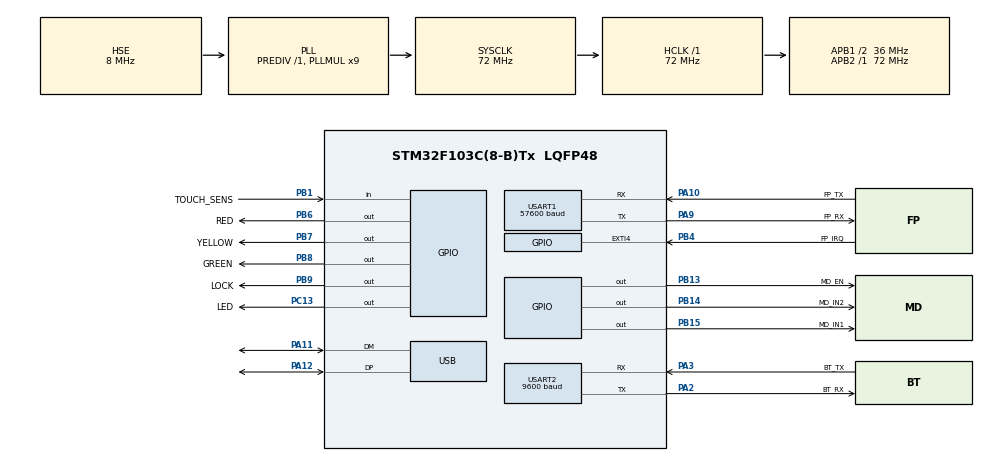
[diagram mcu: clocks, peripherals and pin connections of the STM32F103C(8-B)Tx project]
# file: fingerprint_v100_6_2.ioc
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Mcu.Family=STM32F1
Mcu.Name=STM32F103C(8-B)Tx
Mcu.Package=LQFP48
NVIC.EXTI4_IRQn=true\:0\:0\:false\:false\:true\:true\:true\:true
NVIC.PriorityGroup=NVIC_PRIORITYGROUP_4
NVIC.RCC_IRQn=true\:0\:0\:false\:false\:true\:true\:false\:true
NVIC.USART2_IRQn=true\:0\:0\:false\:false\:true\:true\:true\:true
NVIC.USB_LP_CAN1_RX0_IRQn=true\:0\:0\:false\:false\:true\:false\:true\:true
PA10.GPIO_Label=FP_TX
PA10.Mode=Asynchronous
PA10.Signal=USART1_RX
PA11.Mode=Device
PA11.Signal=USB_DM
PA12.Mode=Device
PA12.Signal=USB_DP
PA13.Mode=Serial_Wire
PA13.Signal=SYS_JTMS-SWDIO
PA14.Mode=Serial_Wire
PA14.Signal=SYS_JTCK-SWCLK
PA2.GPIO_Label=BT_RX
PA2.Mode=Asynchronous
PA2.Signal=USART2_TX
PA3.GPIO_Label=BT_TX
PA3.Mode=Asynchronous
PA3.Signal=USART2_RX
PA9.GPIO_Label=FP_RX
PA9.Mode=Asynchronous
PA9.Signal=USART1_TX
PB1.GPIO_Label=TOUCH_SENS
PB1.Signal=GPIO_Input
PB13.GPIO_Label=MD_EN
PB13.Signal=GPIO_Output
PB14.GPIO_Label=MD_IN2
PB14.Signal=GPIO_Output
PB15.GPIO_Label=MD_IN1
PB15.Signal=GPIO_Output
PB4.GPIO_Label=FP_IRQ
PB4.Signal=GPXTI4
PB6.GPIO_Label=RED
PB6.Signal=GPIO_Output
PB7.GPIO_Label=YELLOW
PB7.Signal=GPIO_Output
PB8.GPIO_Label=GREEN
PB8.Signal=GPIO_Output
PB9.GPIO_Label=LOCK
PB9.Signal=GPIO_Output
PC13-TAMPER-RTC.GPIO_Label=LED
PC13-TAMPER-RTC.Signal=GPIO_Output
PC14-OSC32_IN.Mode=LSE-External-Oscillator
PC14-OSC32_IN.Signal=RCC_OSC32_IN
PC15-OSC32_OUT.Mode=LSE-External-Oscillator
PC15-OSC32_OUT.Signal=RCC_OSC32_OUT
PD0-OSC_IN.Mode=HSE-External-Oscillator
PD0-OSC_IN.Signal=RCC_OSC_IN
PD1-OSC_OUT.Mode=HSE-External-Oscillator
PD1-OSC_OUT.Signal=RCC_OSC_OUT
ProjectManager.HeapSize=0x200
ProjectManager.StackSize=0x400
ProjectManager.TargetToolchain=STM32CubeIDE
RCC.AHBFreq_Value=72000000
RCC.APB1CLKDivider=RCC_HCLK_DIV2
RCC.APB1Freq_Value=36000000
RCC.APB1TimFreq_Value=72000000
RCC.APB2Freq_Value=72000000
RCC.APB2TimFreq_Value=72000000
RCC.HCLKFreq_Value=72000000
RCC.PLLMUL=RCC_PLL_MUL9
RCC.PLLSourceVirtual=RCC_PLLSOURCE_HSE
RCC.SYSCLKFreq_VALUE=72000000
RCC.SYSCLKSource=RCC_SYSCLKSOURCE_PLLCLK
RCC.USBFreq_Value=48000000
RCC.USBPrescaler=RCC_USBCLKSOURCE_PLL_DIV1_5
USART1.BaudRate=57600
USART1.VirtualMode=VM_ASYNC
USART2.BaudRate=9600
USART2.Mode=MODE_TX_RX
USART2.VirtualMode=VM_ASYNC
USB_DEVICE.CLASS_NAME_FS=CDC
USB_DEVICE.VirtualMode=Cdc
USB_DEVICE.VirtualModeFS=Cdc_FS
VP_USB_DEVICE_VS_USB_DEVICE_CDC_FS.Mode=CDC_FS
board=custom

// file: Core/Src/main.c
/* USER CODE BEGIN Header */
/**
 ******************************************************************************
 * @file           : main.c
 * @brief          : Main program body
 ******************************************************************************
 * @attention
 *
 * Copyright (c) 2023 STMicroelectronics.
 * All rights reserved.
 *
 * This software is licensed under terms that can be found in the LICENSE file
 * in the root directory of this software component.
 * If no LICENSE file comes with this software, it is provided AS-IS.
 *
 ******************************************************************************
 */
/* USER CODE END Header */
#include "main.h"
#include "usb_device.h"

/* USER CODE BEGIN Includes */
#include "usbd_cdc_if.h"
#include "fp_interface.h"
/* USER CODE END Includes */

/* USER CODE BEGIN PD */
#define CORRECT_PASS_FLASH 2
#define INCORRECT_PASS_FLASH 2

#define CORRECT_FP_FLASH 2
#define INCORRECT_FP_FLASH 2

#define FP_SAVED_FLASH 5
#define FP_NOT_SAVED_FLASH 5

#define ERASE_UNSUCESS_FLASH 3

#define LOCK_OPENED_FLASH 1
#define LOCK_CLOSED_FLASH 1

#define FLASH_DELAY 300 // in ms

#define MOTOR_RUNTIME 5000 // in ms
#define LOCK_RUNTIME 10000 // 2 min -- in ms
#define delay_to_close 10000 // in ms

/* USER CODE END PD */

UART_HandleTypeDef huart1;
UART_HandleTypeDef huart2;

/* USER CODE BEGIN PV */
uint8_t pkt_received = 0; // variable to store if there is a new packet from bluetooth
uint8_t fp_correct = 2; // variable to store if the entered fp is correct (1: correct, 0: incorrect)
uint8_t motor_state = 0; // variable to store the state of the motor
uint8_t lock_state = 0; // variable to store the state of the lock
uint8_t password_correct = 0; // variable to store if the entered password is correct

char *password = "1234";
uint32_t motor_on_since= 0 ;
uint32_t fp_tobeClosed_since= 0 ;
uint32_t fp_tobeClosed = 0 ;
int x = 0;

/* USER CODE END PV */

void SystemClock_Config(void);
static void MX_GPIO_Init(void);
static void MX_USART1_UART_Init(void);
static void MX_USART2_UART_Init(void);
/* USER CODE BEGIN PFP */
void HAL_UART_RxCpltCallback(UART_HandleTypeDef *huart);
void HAL_UART_ErrorCallback(UART_HandleTypeDef *huart);
void HAL_GPIO_EXTI_Callback(uint16_t GPIO_Pin);
/* USER CODE END PFP */

int main(void)
{

  /* MCU Configuration--------------------------------------------------------*/

  /* Reset of all peripherals, Initializes the Flash interface and the Systick. */
  HAL_Init();

  /* Configure the system clock */
  SystemClock_Config();

  /* Initialize all configured peripherals */
  MX_GPIO_Init();
  MX_USART1_UART_Init();
  MX_USART2_UART_Init();
  MX_USB_DEVICE_Init();
  /* USER CODE BEGIN 2 */
	fp_init();

	uint8_t bluetooth_data[strlen(password)];
  /* USER CODE END 2 */

  /* Infinite loop */
	while (1) {

    /* USER CODE BEGIN 3 */

		HAL_UART_Receive_IT(&huart2, bluetooth_data, sizeof(bluetooth_data)); // Enabling interrupt receive

		// if a new bluetooth packet is received
		if (pkt_received == 1) {
			pkt_received = 0;

			// check if the entered password bytes are equal to the password saved
			uint8_t count_corr = 0;
			for (int i = 0; i < strlen(password); i++) {
				if (bluetooth_data[i] == (uint8_t) password[i]) {
					count_corr++;
				}
			}

			// it the password is entered correctly
			if (count_corr == strlen(password)) {

				flush_buff();
				uint8_t fp_deleted = PS_Empty(); // empty the saved fingerprints

				// if FPs are deleted successfully
				if (fp_deleted == 0) {
					password_correct = 1; // enable the save of a new FP

					HAL_GPIO_WritePin(LOCK_GPIO_Port, LOCK_Pin, 1); // open the lock
					HAL_GPIO_WritePin(YELLOW_GPIO_Port, YELLOW_Pin, 1); // Yellow is ON
					HAL_GPIO_WritePin(GREEN_GPIO_Port, GREEN_Pin, 0); // Green is OFF
					HAL_GPIO_WritePin(RED_GPIO_Port, RED_Pin, 0); // Red is OFF
				} else {
					for (int i = 0; i < ERASE_UNSUCESS_FLASH; i++) {
						HAL_GPIO_WritePin(YELLOW_GPIO_Port, YELLOW_Pin, 1); // Yellow is ON
						HAL_Delay(FLASH_DELAY);
						HAL_GPIO_WritePin(YELLOW_GPIO_Port, YELLOW_Pin, 0); // Yellow is ON
						HAL_Delay(FLASH_DELAY);
					}
				}

			} else {
				password_correct = 0;

				for (int i = 0; i < INCORRECT_PASS_FLASH; i++) {
					HAL_GPIO_WritePin(YELLOW_GPIO_Port, YELLOW_Pin, 1); // Yellow is ON
					HAL_Delay(FLASH_DELAY);
					HAL_GPIO_WritePin(YELLOW_GPIO_Port, YELLOW_Pin, 0); // Yellow is ON
					HAL_Delay(FLASH_DELAY);
				}
			}

			memset(bluetooth_data, '\0', sizeof(bluetooth_data));
		}

		uint32_t currentTime = HAL_GetTick();

		// save the state of the touch sensor
		uint8_t touch_sens_state = HAL_GPIO_ReadPin(TOUCH_SENS_GPIO_Port,
		TOUCH_SENS_Pin);

		// if the touch sensor is enabled
		// run the motor for 1 sec

		if (touch_sens_state) {
			currentTime = HAL_GetTick();
			for(;HAL_GetTick() - currentTime <5;){
				if(HAL_GPIO_ReadPin(TOUCH_SENS_GPIO_Port,TOUCH_SENS_Pin)){

				}else{
					touch_sens_state = 0;
					break;
				}
			}
		}//To be certain the touch sensor was touched. Debugging a problem with false touch inputs

		currentTime = HAL_GetTick();
		if (touch_sens_state) {

			fp_tobeClosed = 0;
			if(!motor_state){
			HAL_GPIO_WritePin(MD_IN1_GPIO_Port, MD_IN1_Pin, 1);
			HAL_GPIO_WritePin(MD_IN2_GPIO_Port, MD_IN2_Pin, 0);
			motor_state = 1;
			motor_on_since = currentTime;

			}else{
				if(currentTime - motor_on_since > MOTOR_RUNTIME){
				HAL_GPIO_WritePin(MD_IN1_GPIO_Port, MD_IN1_Pin, 0);
				HAL_GPIO_WritePin(MD_IN2_GPIO_Port, MD_IN2_Pin, 0);
				}

			}

			//HAL_Delay(MOTOR_RUNTIME); // wait 1 sec

			// Stop the motor

			// Run the motor in a specific direction

		} else {
			if(fp_tobeClosed == 0){
				fp_tobeClosed_since = currentTime;
				fp_tobeClosed = 1;
			}
			if(currentTime - fp_tobeClosed_since > delay_to_close){
			if (motor_state == 1) {
				motor_state = 0;

				// Run the motor in the opposite direction
				HAL_GPIO_WritePin(MD_IN1_GPIO_Port, MD_IN1_Pin, 0);
				HAL_GPIO_WritePin(MD_IN2_GPIO_Port, MD_IN2_Pin, 1);

				HAL_Delay(MOTOR_RUNTIME); // wait 1 sec

				// Stop the motor
				HAL_GPIO_WritePin(MD_IN1_GPIO_Port, MD_IN1_Pin, 0);
				HAL_GPIO_WritePin(MD_IN2_GPIO_Port, MD_IN2_Pin, 0);
			}
			}

		}

		uint8_t usb_data[9];
		uint32_t enroll;
		uint32_t score;
		uint16_t temp_buff_id;

		// if a fingerprint is detected
		if (is_fp_detected() == 1) {

			temp_buff_id = PS_ValidTempleteNum(); // read the number of saved fingerprints
			int get_image = PS_GetImage(); // get the image (returns: ok: 00, messy, dry, wet)

			flush_buff();

			// if the image acquisition is successful and the password is entered correctly
			// save the FP
			if (get_image == 0 && password_correct) {// here it is detecting the fingerprint and saving it after the user has entered the password through bluwtooth

				// is required to put your finger on the FP 2 times for saving
				for (int i = 0; i < 2; i++) {
					enroll = PS_AutoEnroll(temp_buff_id, 2, 0x003F); // save the fingerprint
				}

				// if FP is saved
				if (((enroll >> 16) & 0xFF) == 0) {
					password_correct = 0; // reset the password correct flag
					HAL_GPIO_WritePin(RED_GPIO_Port, RED_Pin, 0); // Red is OFF
					HAL_GPIO_WritePin(YELLOW_GPIO_Port, YELLOW_Pin, 0); // Yellow is OFF

					// flash the green multiple times to indicate successful fp save
					for (int i = 0; i < FP_SAVED_FLASH; i++) {
						HAL_GPIO_WritePin(GREEN_GPIO_Port, GREEN_Pin, 1);
						HAL_GPIO_WritePin(RED_GPIO_Port, RED_Pin, 1);
						HAL_Delay(FLASH_DELAY);
						HAL_GPIO_WritePin(RED_GPIO_Port, RED_Pin, 0);
						HAL_GPIO_WritePin(GREEN_GPIO_Port, GREEN_Pin, 0);
						HAL_Delay(FLASH_DELAY);
					}
				} else {
					for (int i = 0; i < FP_NOT_SAVED_FLASH; i++) {
						HAL_GPIO_WritePin(RED_GPIO_Port, RED_Pin, 1);
						HAL_Delay(FLASH_DELAY);
						HAL_GPIO_WritePin(RED_GPIO_Port, RED_Pin, 0);
						HAL_Delay(FLASH_DELAY);
					}
				}
				flush_buff();

			} else if (get_image == 0) {

				for (int i = 0; i < temp_buff_id; i++) {
					score = PS_AutoIdentify(i, 20);

					// if the score of the fp is high
					if (((score >> 8 | score) & 0xFF) > 3) {
						fp_correct = 1;
						break;
					} else {
						fp_correct = 0;
					}
					HAL_Delay(3);
				}

			} else if (get_image != 0 ) {

				if(x>0){HAL_GPIO_WritePin(RED_GPIO_Port, RED_Pin, 1);}//remooving initilly red error
				flush_buff();
				x++;
			}

			usb_data[0] = temp_buff_id >> 8; // valid fp template high byte
			usb_data[1] = temp_buff_id; // valid fp template low byte
			usb_data[2] = get_image; // conf code of get image get_image

			usb_data[3] = score >> 24; // conf code of enroll
			usb_data[4] = score >> 16; // parameter 1
			usb_data[5] = score >> 8; // // parameter 2
			usb_data[6] = score; // conf code of enroll

			usb_data[7] = enroll >> 8; // parameter 1
			usb_data[8] = enroll; // // parameter 2

			HAL_Delay(50);
			CDC_Transmit_FS(usb_data, sizeof(usb_data));
			clear_fp_flag();

		}// end of is_fp_detected

		if (fp_correct == 1) {

			static uint32_t lock_run_time = 0;

			HAL_GPIO_WritePin(LOCK_GPIO_Port, LOCK_Pin, 1);
			HAL_GPIO_WritePin(GREEN_GPIO_Port, GREEN_Pin, 1);
			HAL_GPIO_WritePin(RED_GPIO_Port, RED_Pin, 0);

			if (lock_run_time == 0)
				lock_run_time = HAL_GetTick();

			if (HAL_GetTick() - lock_run_time > LOCK_RUNTIME) {
				HAL_GPIO_WritePin(LOCK_GPIO_Port, LOCK_Pin, 0);
				HAL_GPIO_WritePin(GREEN_GPIO_Port, GREEN_Pin, 0);
				lock_run_time = 0;
				fp_correct = 2;
			}
		} else if (fp_correct == 0 ) {
			static uint32_t lock_run_time = 0;

			HAL_GPIO_WritePin(RED_GPIO_Port, RED_Pin, 1);

			if (lock_run_time == 0)
				lock_run_time = HAL_GetTick();

			if (HAL_GetTick() - lock_run_time > LOCK_RUNTIME) {
				HAL_GPIO_WritePin(RED_GPIO_Port, RED_Pin, 0);
				lock_run_time = 0;
				fp_correct = 2;
			}

		}

		HAL_Delay(40);

	}//infinite while loop end here

  /* USER CODE END 3 */
}

void SystemClock_Config(void)
{
  RCC_OscInitTypeDef RCC_OscInitStruct = {0};
  RCC_ClkInitTypeDef RCC_ClkInitStruct = {0};
  RCC_PeriphCLKInitTypeDef PeriphClkInit = {0};

  /** Initializes the RCC Oscillators according to the specified parameters
  * in the RCC_OscInitTypeDef structure.
  */
  RCC_OscInitStruct.OscillatorType = RCC_OSCILLATORTYPE_HSE;
  RCC_OscInitStruct.HSEState = RCC_HSE_ON;
  RCC_OscInitStruct.HSEPredivValue = RCC_HSE_PREDIV_DIV1;
  RCC_OscInitStruct.HSIState = RCC_HSI_ON;
  RCC_OscInitStruct.PLL.PLLState = RCC_PLL_ON;
  RCC_OscInitStruct.PLL.PLLSource = RCC_PLLSOURCE_HSE;
  RCC_OscInitStruct.PLL.PLLMUL = RCC_PLL_MUL9;
  if (HAL_RCC_OscConfig(&RCC_OscInitStruct) != HAL_OK)
  {
    Error_Handler();
  }

  /** Initializes the CPU, AHB and APB buses clocks
  */
  RCC_ClkInitStruct.ClockType = RCC_CLOCKTYPE_HCLK|RCC_CLOCKTYPE_SYSCLK
                              |RCC_CLOCKTYPE_PCLK1|RCC_CLOCKTYPE_PCLK2;
  RCC_ClkInitStruct.SYSCLKSource = RCC_SYSCLKSOURCE_PLLCLK;
  RCC_ClkInitStruct.AHBCLKDivider = RCC_SYSCLK_DIV1;
  RCC_ClkInitStruct.APB1CLKDivider = RCC_HCLK_DIV2;
  RCC_ClkInitStruct.APB2CLKDivider = RCC_HCLK_DIV1;

  if (HAL_RCC_ClockConfig(&RCC_ClkInitStruct, FLASH_LATENCY_2) != HAL_OK)
  {
    Error_Handler();
  }
  PeriphClkInit.PeriphClockSelection = RCC_PERIPHCLK_USB;
  PeriphClkInit.UsbClockSelection = RCC_USBCLKSOURCE_PLL_DIV1_5;
  if (HAL_RCCEx_PeriphCLKConfig(&PeriphClkInit) != HAL_OK)
  {
    Error_Handler();
  }
}

static void MX_USART1_UART_Init(void)
{

  huart1.Instance = USART1;
  huart1.Init.BaudRate = 57600;
  huart1.Init.WordLength = UART_WORDLENGTH_8B;
  huart1.Init.StopBits = UART_STOPBITS_1;
  huart1.Init.Parity = UART_PARITY_NONE;
  huart1.Init.Mode = UART_MODE_TX_RX;
  huart1.Init.HwFlowCtl = UART_HWCONTROL_NONE;
  huart1.Init.OverSampling = UART_OVERSAMPLING_16;
  if (HAL_UART_Init(&huart1) != HAL_OK)
  {
    Error_Handler();
  }

}

static void MX_USART2_UART_Init(void)
{

  huart2.Instance = USART2;
  huart2.Init.BaudRate = 9600;
  huart2.Init.WordLength = UART_WORDLENGTH_8B;
  huart2.Init.StopBits = UART_STOPBITS_1;
  huart2.Init.Parity = UART_PARITY_NONE;
  huart2.Init.Mode = UART_MODE_TX_RX;
  huart2.Init.HwFlowCtl = UART_HWCONTROL_NONE;
  huart2.Init.OverSampling = UART_OVERSAMPLING_16;
  if (HAL_UART_Init(&huart2) != HAL_OK)
  {
    Error_Handler();
  }

}

static void MX_GPIO_Init(void)
{
  GPIO_InitTypeDef GPIO_InitStruct = {0};

  /* GPIO Ports Clock Enable */
  __HAL_RCC_GPIOC_CLK_ENABLE();
  __HAL_RCC_GPIOD_CLK_ENABLE();
  __HAL_RCC_GPIOA_CLK_ENABLE();
  __HAL_RCC_GPIOB_CLK_ENABLE();

  /*Configure GPIO pin Output Level */
  HAL_GPIO_WritePin(LED_GPIO_Port, LED_Pin, GPIO_PIN_RESET);

  /*Configure GPIO pin Output Level */
  HAL_GPIO_WritePin(GPIOB, MD_EN_Pin|MD_IN2_Pin|MD_IN1_Pin|RED_Pin
                          |YELLOW_Pin|GREEN_Pin|LOCK_Pin, GPIO_PIN_RESET);

  /*Configure GPIO pin : LED_Pin */
  GPIO_InitStruct.Pin = LED_Pin;
  GPIO_InitStruct.Mode = GPIO_MODE_OUTPUT_PP;
  GPIO_InitStruct.Pull = GPIO_NOPULL;
  GPIO_InitStruct.Speed = GPIO_SPEED_FREQ_LOW;
  HAL_GPIO_Init(LED_GPIO_Port, &GPIO_InitStruct);

  /*Configure GPIO pin : TOUCH_SENS_Pin */
  GPIO_InitStruct.Pin = TOUCH_SENS_Pin;
  GPIO_InitStruct.Mode = GPIO_MODE_INPUT;
  GPIO_InitStruct.Pull = GPIO_NOPULL;
  HAL_GPIO_Init(TOUCH_SENS_GPIO_Port, &GPIO_InitStruct);

  /*Configure GPIO pins : MD_EN_Pin MD_IN2_Pin MD_IN1_Pin RED_Pin
                           YELLOW_Pin GREEN_Pin LOCK_Pin */
  GPIO_InitStruct.Pin = MD_EN_Pin|MD_IN2_Pin|MD_IN1_Pin|RED_Pin
                          |YELLOW_Pin|GREEN_Pin|LOCK_Pin;
  GPIO_InitStruct.Mode = GPIO_MODE_OUTPUT_PP;
  GPIO_InitStruct.Pull = GPIO_NOPULL;
  GPIO_InitStruct.Speed = GPIO_SPEED_FREQ_LOW;
  HAL_GPIO_Init(GPIOB, &GPIO_InitStruct);

  /*Configure GPIO pin : FP_IRQ_Pin */
  GPIO_InitStruct.Pin = FP_IRQ_Pin;
  GPIO_InitStruct.Mode = GPIO_MODE_IT_RISING;
  GPIO_InitStruct.Pull = GPIO_NOPULL;
  HAL_GPIO_Init(FP_IRQ_GPIO_Port, &GPIO_InitStruct);

  /* EXTI interrupt init*/
  HAL_NVIC_SetPriority(EXTI4_IRQn, 0, 0);
  HAL_NVIC_EnableIRQ(EXTI4_IRQn);

}

/* USER CODE BEGIN 4 */
void HAL_UART_RxCpltCallback(UART_HandleTypeDef *huart) {
	if (huart->Instance == USART2) {
		pkt_received = 1;
		HAL_GPIO_TogglePin(LED_GPIO_Port, LED_Pin);
	}
}
void HAL_UART_ErrorCallback(UART_HandleTypeDef *huart) {

}

/* USER CODE END 4 */

void Error_Handler(void)
{
	__disable_irq();
	while (1) {
	}
}
